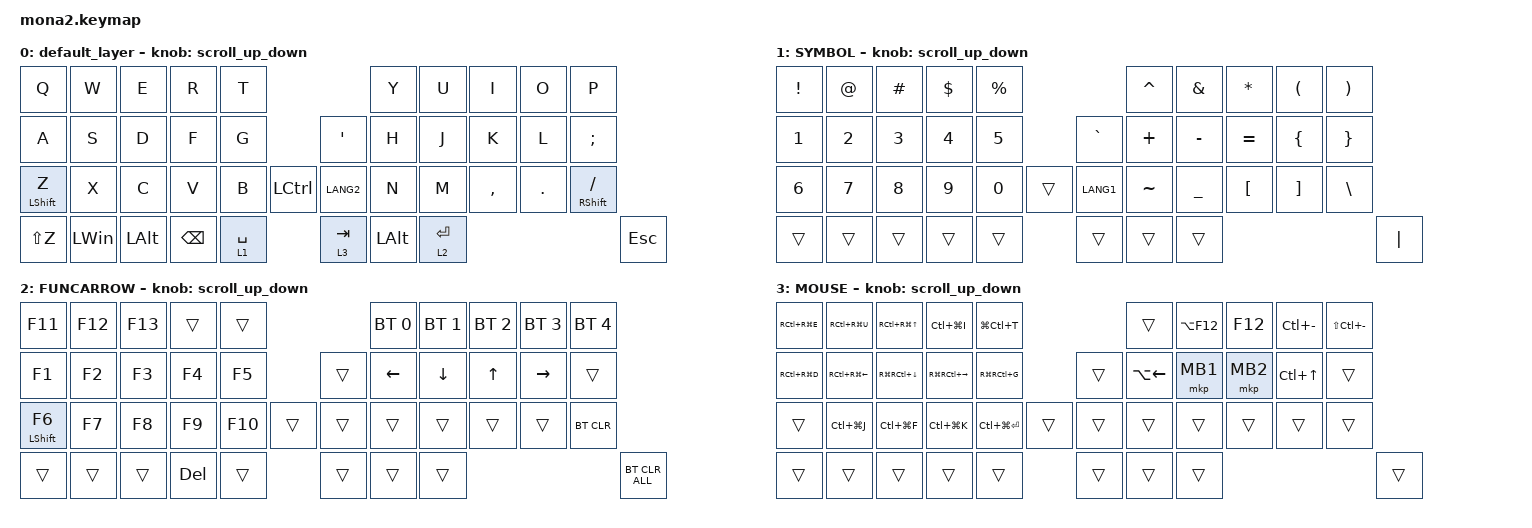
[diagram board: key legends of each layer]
#include <input/processors.dtsi>
#include <dt-bindings/zmk/input_transform.h>
#include <zephyr/dt-bindings/input/input-event-codes.h>
#include <dt-bindings/zmk/mouse.h>
#include <behaviors.dtsi>
#include <dt-bindings/zmk/bt.h>
#include <dt-bindings/zmk/keys.h>
#include <dt-bindings/zmk/pointing.h>

#define ZMK_POINTING_DEFAULT_SCRL_VAL 80
#define MOUSE 4
#define SCROLL 5
#define NUM 6

&mt {
    flavor = "balanced";
    quick-tap-ms = <0>;
};

&lt {
    quick-tap-ms = <300>;
    flavor = "balanced";
};

/ {
    combos {
        compatible = "zmk,combos";

        tab {
            bindings = <&kp TAB>;
            key-positions = <11 12>;
        };

        shift_tab {
            bindings = <&kp LS(TAB)>;
            key-positions = <12 13>;
        };

        click1 {
            bindings = <&mkp LCLK>;
            key-positions = <17 18>;
        };

        click2 {
            bindings = <&mkp RCLK>;
            key-positions = <18 19>;
        };

        terminal {
            bindings = <&kp LG(SPACE)>;
            key-positions = <1 2>;
        };
    };

    macros {
        to_layer_0: to_layer_0 {
            compatible = "zmk,behavior-macro-one-param";
            #binding-cells = <1>;
            bindings = <&to 0 &macro_param_1to1 &kp MACRO_PLACEHOLDER>;
            label = "TO_LAYER_0";
        };
    };

    behaviors {
        encoder_msc_down_up: encoder_msc_down_up {
            compatible = "zmk,behavior-sensor-rotate";
            label = "ENCODER_MSC_DOWN_UP";
            #sensor-binding-cells = <0>;
            bindings = <&msc SCRL_DOWN>, <&msc SCRL_UP>;

            tap-ms = <20>;
        };

        scroll_up_down: scroll_up_down {
            compatible = "zmk,behavior-sensor-rotate";
            #sensor-binding-cells = <0>;
            bindings = <&msc SCRL_UP>, <&msc SCRL_DOWN>;

            tap-ms = <20>;
        };

        lt_to_layer_0: lt_to_layer_0 {
            compatible = "zmk,behavior-hold-tap";
            label = "LAYER_TAP_TO_0";
            bindings = <&mo>, <&to_layer_0>;

            #binding-cells = <2>;
            tapping-term-ms = <100>;
        };

        lt_hold_pf: lt_hold_pf {
            compatible = "zmk,behavior-hold-tap";
            label = "LT_HOLD_PF";
            bindings = <&mo>, <&kp>;

            #binding-cells = <2>;
            tapping-term-ms = <200>;
        };

        lt_balanced: lt_balanced {
            compatible = "zmk,behavior-hold-tap";
            label = "LT_BALANCED";
            bindings = <&mo>, <&kp>;

            #binding-cells = <2>;
            tapping-term-ms = <200>;
            flavor = "balanced";
        };
    };

    keymap {
        compatible = "zmk,keymap";

        default_layer {
            bindings = <
&kp Q             &kp W         &kp E         &kp R          &kp T                                          &kp Y                &kp U  &kp I      &kp O    &kp P
&kp A             &kp S         &kp D         &kp F          &kp G                   &kp SINGLE_QUOTE       &kp H                &kp J  &kp K      &kp L    &kp SEMICOLON
&mt LEFT_SHIFT Z  &kp X         &kp C         &kp V          &kp B  &kp LCTRL        &kp LANG2              &kp N                &kp M  &kp COMMA  &kp DOT  &mt RIGHT_SHIFT SLASH
&kp LS(Z)         &kp LEFT_WIN  &kp LEFT_ALT  &kp BACKSPACE  &lt_hold_pf 1 SPACE  &lt_balanced 3 TAB        &kp LALT             &lt_hold_pf 2 ENTER                   &kp ESCAPE
            >;

            sensor-bindings = <&scroll_up_down>;
        };

        SYMBOL {
            bindings = <
&kp EXCL      &kp AT        &kp HASH      &kp DOLLAR    &kp PRCNT                         &kp CARET  &kp AMPS        &kp STAR          &kp LPAR           &kp RPAR
&kp NUMBER_1  &kp NUMBER_2  &kp NUMBER_3  &kp NUMBER_4  &kp N5            &kp GRAVE       &kp PLUS   &kp MINUS       &kp EQUAL         &kp LEFT_BRACE     &kp RIGHT_BRACE
&kp NUMBER_6  &kp NUMBER_7  &kp NUMBER_8  &kp NUMBER_9  &kp NUMBER_0  &trans    &kp LANG1  &kp TILDE  &kp UNDERSCORE  &kp LEFT_BRACKET  &kp RIGHT_BRACKET  &kp BACKSLASH
&trans        &trans        &trans        &trans        &trans        &trans    &trans     &trans                                                          &kp PIPE
            >;

            sensor-bindings = <&scroll_up_down>;
        };

        FUNCARROW {
            bindings = <
&kp F11            &kp F12  &kp F13  &trans   &trans                    &bt BT_SEL 0  &bt BT_SEL 1  &bt BT_SEL 2  &bt BT_SEL 3  &bt BT_SEL 4
&kp F1             &kp F2   &kp F3   &kp F4   &kp F5         &trans     &kp LEFT      &kp DOWN      &kp UP        &kp RIGHT     &trans
&mt LEFT_SHIFT F6  &kp F7   &kp F8   &kp F9   &kp F10  &trans    &trans  &trans        &trans        &trans        &trans        &bt BT_CLR
&trans             &trans   &trans   &kp DEL  &trans   &trans    &trans  &trans                                                  &bt BT_CLR_ALL
            >;

            sensor-bindings = <&scroll_up_down>;
        };

        MOUSE {
            bindings = <
&kp RC(RG(E))  &kp RC(RG(U))     &kp RC(RG(UP_ARROW))    &kp LC(LG(I))            &kp LG(LC(T))                        &trans        &kp LA(F12)  &kp F12   &kp LC(MINUS)     &kp LS(LC(MINUS))
&kp RC(RG(D))  &kp RC(RG(LEFT))  &kp RG(RC(DOWN_ARROW))  &kp RG(RC(RIGHT_ARROW))  &kp RG(RC(G))        &trans          &kp LA(LEFT)  &mkp MB1     &mkp MB2  &kp LC(UP_ARROW)  &trans
&trans         &kp LC(LG(J))     &kp LC(LG(F))           &kp LC(LG(K))            &kp LC(LG(RETURN))  &trans    &trans  &trans        &trans       &trans    &trans            &trans
&trans         &trans            &trans                  &trans                   &trans              &trans    &trans  &trans                                                 &trans
            >;

            sensor-bindings = <&scroll_up_down>;
        };
    };
};
